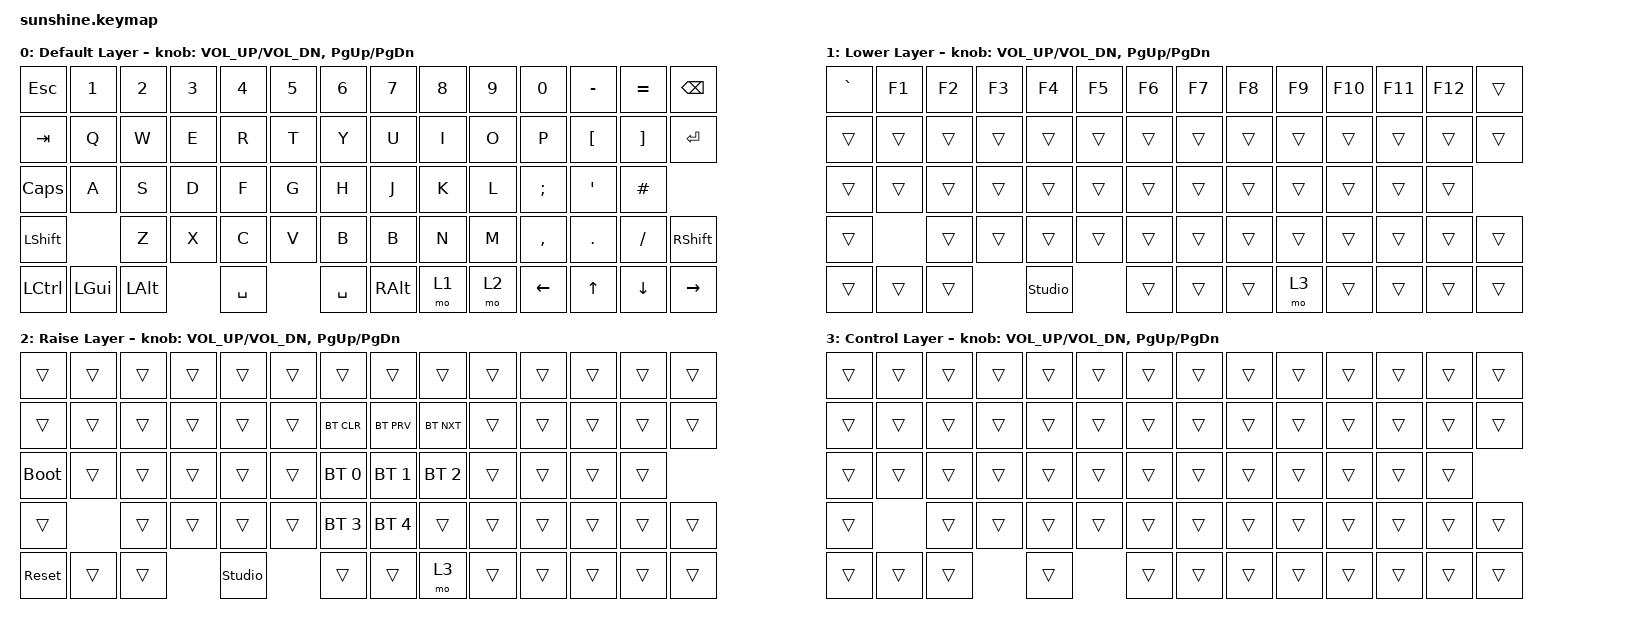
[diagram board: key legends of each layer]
/*
 * Copyright (c) 2025 The ZMK Contributors
 *
 * SPDX-License-Identifier: MIT
 */

#include <behaviors.dtsi>
#include <dt-bindings/zmk/keys.h>
#include <dt-bindings/zmk/bt.h>

/ {
    keymap {
        compatible = "zmk,keymap";

        default_layer {
            display-name = "Default Layer";
// -----------------------------------------------------------------------------------------------------------------
// |  ESC  |  1  ||  2  |  3  |  4  |  5  |  6  ||  7  |  8  |  9   |  0  ||   -   |   =   | BCKSPC |
// |  TAB  |  Q  ||  W  |  E  |  R  |  T  |------|  Y  |  U  |  I   |  O  ||   P   |   [   |   ]    |  #   |
// |  CAPS |  A  ||  S  |  D  |  F  |  G  |------|  H  |  J  |  K   |  L  ||   ;   |   '   | ENTER  |
// | LSHFT |  Z  ||  X  |  C  |  V  |  B  |------|  B  |  N  |  M   |  ,  ||   .   |   /   | RSHFT  |  UP  |
// | LCTRL | LGUI|| LALT|    SPC    |------------|    SPC    | RALT |------| MO(1) | MO(2) | LEFT   | DOWN | RIGHT |
            bindings = <
&kp ESC    &kp N1    &kp N2    &kp N3  &kp N4     &kp N5  &kp N6     &kp N7    &kp N8  &kp N9  &kp N0     &kp MINUS  &kp EQUAL  &kp BSPC
&kp TAB    &kp Q     &kp W     &kp E   &kp R      &kp T   &kp Y      &kp U     &kp I   &kp O   &kp P      &kp LBKT   &kp RBKT   &kp ENTER
&kp CAPS   &kp A     &kp S     &kp D   &kp F      &kp G   &kp H      &kp J     &kp K   &kp L   &kp SEMI   &kp SQT    &kp HASH
&kp LSHFT            &kp Z     &kp X   &kp C      &kp V   &kp B      &kp B     &kp N   &kp M   &kp COMMA  &kp DOT    &kp FSLH   &kp RSHFT
&kp LCTRL  &kp LGUI  &kp LALT          &kp SPACE          &kp SPACE  &kp RALT  &mo 1   &mo 2   &kp LEFT   &kp UP     &kp DOWN   &kp RIGHT
            >;
            sensor-bindings = <&inc_dec_kp C_VOL_UP C_VOL_DN &inc_dec_kp PG_UP PG_DN>;
        };

        lower_layer {
            display-name = "Lower Layer";
// -----------------------------------------------------------------------------------------------------------------
// | ` | F1 || F2 | F3  | F4  | F5 | F6 || F7 | F8 | F9 | F10 || F11 |  F12  |    |
// |   |    ||    |     |     |    |-----|    |    |    |     ||     |       |    |    |
// |   |    ||    |     |     |    |-----|    |    |    |     ||     |       |    |
// |   |    ||    |     |     |    |-----|    |    |    |     ||     |       |    |    |
// |   |    ||    | ZMKSTUDIO |----------|         |    |------|     | MO(3) |    |    |    |
            bindings = <
&kp GRAVE  &kp F1  &kp F2  &kp F3   &kp F4          &kp F5  &kp F6  &kp F7  &kp F8  &kp F9  &kp F10  &kp F11  &kp F12  &trans
&trans     &trans  &trans  &trans   &trans          &trans  &trans  &trans  &trans  &trans  &trans   &trans   &trans   &trans
&trans     &trans  &trans  &trans   &trans          &trans  &trans  &trans  &trans  &trans  &trans   &trans   &trans            
&trans             &trans  &trans   &trans          &trans  &trans  &trans  &trans  &trans  &trans   &trans   &trans   &trans
&trans     &trans  &trans           &studio_unlock          &trans  &trans  &trans  &mo 3   &trans   &trans   &trans   &trans
            >;
            sensor-bindings = <&inc_dec_kp C_VOL_UP C_VOL_DN &inc_dec_kp PG_UP PG_DN>;
        };

        raise_layer {
            display-name = "Raise Layer";
// -----------------------------------------------------------------------------------------------------------------
// |      |    ||    |     |     |    |    ||        |        |        |    ||       |    |    |
// |      |    ||    |     |     |    |-----| BT_CLR | BTPREV | BTNEXT |    ||       |    |    |    |
// | BOOT |    ||    |     |     |    |-----| BTSEL0 | BTSEL1 | BTSEL2 |    ||       |    |    |
// |      |    ||    |     |     |    |-----| BTSEL3 | BTSEL4 |        |    ||       |    |    |    |
// | RST  |    ||    | ZMKSTUDIO |----------|                 |        |-----| MO(3) |    |    |    |    |
            bindings = <
&trans       &trans  &trans  &trans   &trans          &trans  &trans        &trans        &trans        &trans  &trans  &trans  &trans  &trans
&trans       &trans  &trans  &trans   &trans          &trans  &bt BT_CLR    &bt BT_PRV    &bt BT_NXT    &trans  &trans  &trans  &trans  &trans
&bootloader  &trans  &trans  &trans   &trans          &trans  &bt BT_SEL 0  &bt BT_SEL 1  &bt BT_SEL 2  &trans  &trans  &trans  &trans           
&trans               &trans  &trans   &trans          &trans  &bt BT_SEL 3  &bt BT_SEL 4  &trans        &trans  &trans  &trans  &trans  &trans
&sys_reset   &trans  &trans           &studio_unlock          &trans        &trans        &mo 3         &trans  &trans  &trans  &trans  &trans
            >;
            sensor-bindings = <&inc_dec_kp C_VOL_UP C_VOL_DN &inc_dec_kp PG_UP PG_DN>;
        };

        control_layer {
            display-name = "Control Layer";
// -----------------------------------------------------------------------------------------------------------------
// |   |    ||    |     |     |    |    ||    |    |    |    ||    |    |    |
// |   |    ||    |     |     |    |-----|    |    |    |    ||    |    |    |    |
// |   |    ||    |     |     |    |-----|    |    |    |    ||    |    |    |
// |   |    ||    |     |     |    |-----|    |    |    |    ||    |    |    |    |
// |   |    ||    |           |----------|         |    |-----|    |    |    |    |    |
            bindings = <
&trans  &trans  &trans  &trans   &trans  &trans  &trans  &trans  &trans  &trans  &trans  &trans  &trans  &trans
&trans  &trans  &trans  &trans   &trans  &trans  &trans  &trans  &trans  &trans  &trans  &trans  &trans  &trans
&trans  &trans  &trans  &trans   &trans  &trans  &trans  &trans  &trans  &trans  &trans  &trans  &trans           
&trans          &trans  &trans   &trans  &trans  &trans  &trans  &trans  &trans  &trans  &trans  &trans  &trans
&trans  &trans  &trans           &trans          &trans  &trans  &trans  &trans  &trans  &trans  &trans  &trans
            >;
            sensor-bindings = <&inc_dec_kp C_VOL_UP C_VOL_DN &inc_dec_kp PG_UP PG_DN>;
        };
    };
};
